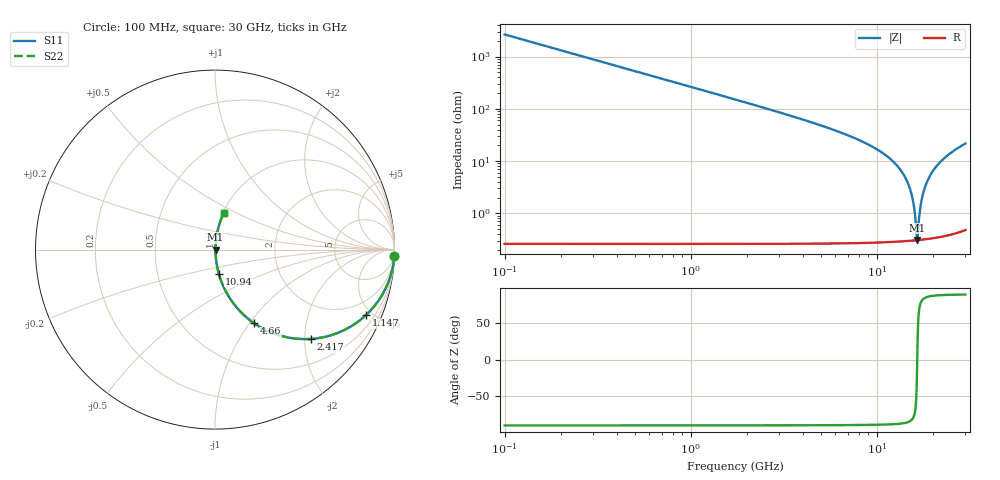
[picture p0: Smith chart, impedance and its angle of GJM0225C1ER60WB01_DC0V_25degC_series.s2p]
!Murata Part Number: GJM0225C1ER60WB01
!These Parameters are Measured in Series Mode Connection
!  o--ll--o
!Port1  Port2
!  o------o
!Operation Temp=25[degC], DC Bias Voltage=0[V]
!Freq. Start=100[MHz] Stop=30[GHz], 401[Steps]
!Data Generated on Feb 1, 2023
# Hz S RI R 50
!Freq.(Hz) S11(Real) S11(Imag) S21(Real) S21(Imag) S12(Real) S12(Imag) S22(Real) S22(Imag)
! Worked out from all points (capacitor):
!   401 points, 100 MHz to 30 GHz, reference 50 ohm
!   read as one part in series: C = 600 fF near 249.5 MHz
!   lowest |Z| = 308 mohm at 16.55 GHz (marker M1)
!   series resonance near 16.53 GHz, so ESL is about 150 pH
!   S11 on the Smith chart (normalised r, x): 100 MHz: 1, -53; 1.147 GHz: 1.01, -4.61; 2.417 GHz: 1.01, -2.15; 4.66 GHz: 1.01, -1.05; 10.94 GHz: 1.01, -0.27; 30 GHz: 1.01, +0.43
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1e8  0.9986 -0.0376  0.00142 0.0376  0.00142 0.0376  0.9986 -0.0376
3.2425e8  0.9852 -0.1205  0.0148 0.1205  0.0148 0.1205  0.9852 -0.1205
5.485e8  0.9588 -0.1985  0.0412 0.1985  0.0412 0.1985  0.9588 -0.1985
1.1465e9  0.841 -0.3651  0.159 0.3651  0.159 0.3651  0.841 -0.3651
2.41725e9  0.5357 -0.4975  0.4643 0.4975  0.4643 0.4975  0.5357 -0.4975
4.65975e9  0.217 -0.4097  0.783 0.4097  0.783 0.4097  0.217 -0.4097
5.10825e9  0.1826 -0.3835  0.8174 0.3835  0.8174 0.3835  0.1826 -0.3835
1.01165e10  0.029 -0.1598  0.971 0.1598  0.971 0.1598  0.029 -0.1598
1.093875e10  0.0211 -0.134  0.9789 0.134  0.9789 0.134  0.0211 -0.134
1.348025e10  0.00726 -0.0659  0.9927 0.0659  0.9927 0.0659  0.00726 -0.0659
1.505e10  0.00388 -0.0303  0.9961 0.0303  0.9961 0.0303  0.00388 -0.0303
1.57975e10  0.00322 -0.0146  0.9968 0.0146  0.9968 0.0146  0.00322 -0.0146
1.60965e10  0.0031 -0.00857  0.9969 0.00857  0.9969 0.00857  0.0031 -0.00857
1.63955e10  0.00305 -0.00261  0.997 0.00261  0.997 0.00261  0.00305 -0.00261
1.6545e10  0.00305 0.00034  0.9969 -0.00034  0.9969 -0.00034  0.00305 0.00034
1.7143e10  0.00323 0.0119  0.9968 -0.0119  0.9968 -0.0119  0.00323 0.0119
1.7741e10  0.00367 0.0231  0.9963 -0.0231  0.9963 -0.0231  0.00367 0.0231
1.871275e10  0.00486 0.0405  0.9951 -0.0405  0.9951 -0.0405  0.00486 0.0405
2.005825e10  0.00738 0.0635  0.9926 -0.0635  0.9926 -0.0635  0.00738 0.0635
2.215125e10  0.013 0.0969  0.987 -0.0969  0.987 -0.0969  0.013 0.0969
2.50665e10  0.0239 0.1397  0.9761 -0.1397  0.9761 -0.1397  0.0239 0.1397
3e10  0.049 0.2051  0.951 -0.2051  0.951 -0.2051  0.049 0.2051
